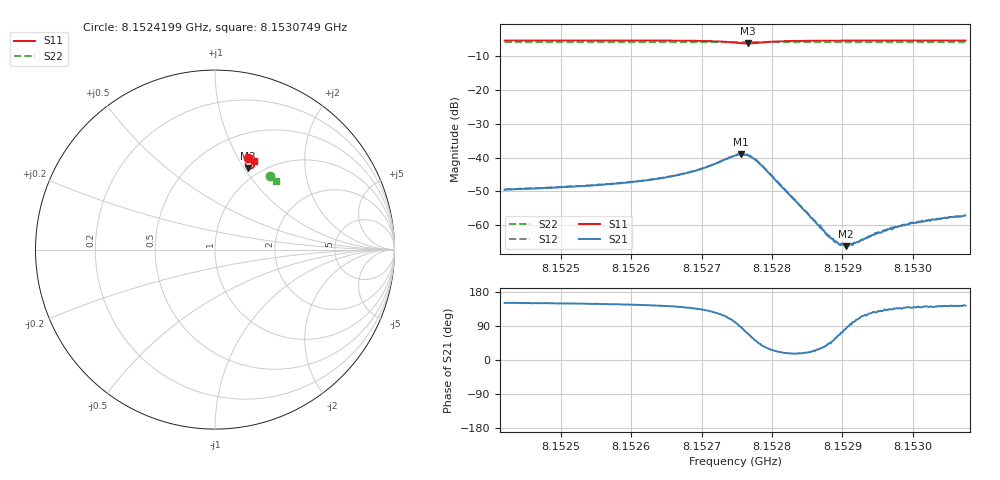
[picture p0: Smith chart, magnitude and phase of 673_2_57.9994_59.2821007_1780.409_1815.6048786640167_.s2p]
#  HZ  S  RI  R  50.00
! Rohde & Schwarz Vector Network Analyzer
! Rohde-Schwarz,ZNB20-2Port,1311601062101988,3.16
! Created: UTC 3/21/2024, 1:20:27 AM
! freq[Hz]  re:S11  im:S11  re:S21  im:S21  re:S12  im:S12  re:S22  im:S22
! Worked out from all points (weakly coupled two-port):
!   401 points, 8.1524199 GHz to 8.1530749 GHz, reference 50 ohm
!   highest |S21| = -39.01 dB at 8.1527556 GHz (marker M1); lowest = -66.2 dB at 8.1529046 GHz (marker M2)
!   lowest |S11| = -6.2 dB at 8.1527654 GHz (marker M3), VSWR 2.91, Z = 43.7 + j52 ohm
!   |S11| at or under -10 dB: nowhere
!   |S22| runs from -5.9 to -5.8 dB; largest |S21 - S12| = 0.00038
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8.15241988e9  0.1856 0.5078  -0.00291 0.00162  -0.00294 0.00169  0.3079 0.4084
8.15252961e9  0.1949 0.5042  -0.00322 0.00196  -0.00323 0.002  0.3134 0.404
8.15259511e9  0.2013 0.501  -0.00359 0.00235  -0.00357 0.00246  0.3166 0.4015
8.15263933e9  0.2065 0.4979  -0.00392 0.00292  -0.00393 0.003  0.3189 0.3994
8.15269337e9  0.2149 0.4894  -0.00461 0.00458  -0.00459 0.00469  0.3215 0.3968
8.15271466e9  0.2184 0.4813  -0.0047 0.00614  -0.00466 0.00621  0.3226 0.3959
8.15274741e9  0.2106 0.4564  -0.00184 0.0106  -0.00176 0.0107  0.3235 0.3937
8.1527556e9  0.2002 0.4511  0.000479 0.0112  0.000668 0.0113  0.3233 0.3933
8.15276543e9  0.1844 0.4526  0.00367 0.0102  0.00378 0.0102  0.3234 0.3933
8.15277689e9  0.1722 0.4652  0.00581 0.00722  0.00598 0.00715  0.3233 0.3934
8.15278835e9  0.1706 0.479  0.00576 0.00415  0.00585 0.00417  0.3242 0.3935
8.15285714e9  0.1936 0.4998  0.00115 0.000497  0.00119 0.000465  0.3285 0.3911
8.15287842e9  0.1978 0.4998  0.000536 0.000466  0.000576 0.000451  0.3296 0.3903
8.15288825e9  0.1994 0.4998  0.000343 0.000462  0.000353 0.000467  0.3301 0.3898
8.15289644e9  0.2007 0.4995  0.0002 0.000465  0.000207 0.000515  0.3307 0.3894
8.15290463e9  0.2019 0.4994  7.27e-05 0.000483  9.19e-05 0.000523  0.3311 0.389
8.15291118e9  0.2028 0.4994  -4.58e-05 0.00053  -2.78e-05 0.000498  0.3313 0.3889
8.15291773e9  0.2037 0.4992  -0.000114 0.000528  -8.98e-05 0.00054  0.3318 0.3885
8.15294557e9  0.2069 0.4985  -0.000429 0.00058  -0.00042 0.000585  0.333 0.3873
8.15296686e9  0.2092 0.498  -0.000617 0.000634  -0.000589 0.000657  0.3341 0.3864
8.15300289e9  0.2128 0.4971  -0.000826 0.000701  -0.000831 0.000743  0.3359 0.3849
8.15307494e9  0.2189 0.4948  -0.00112 0.000829  -0.00109 0.000851  0.3393 0.3817
